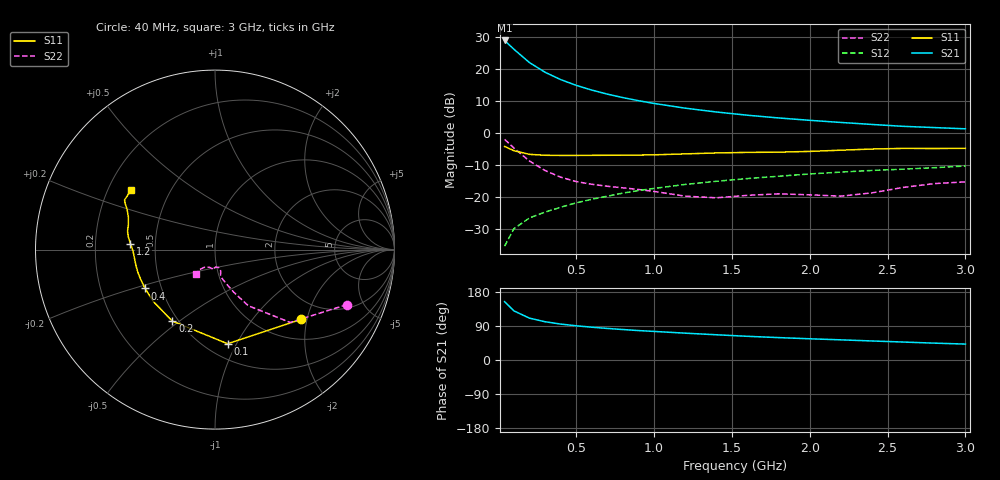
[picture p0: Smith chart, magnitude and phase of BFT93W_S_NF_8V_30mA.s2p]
! Filename:  BFT93WH.S2P  Version:  4.0
! Philips part #: BFT93W  Date: Jun 1994
! Bias condition: Vce=10V, Ic=30mA
#  MHz  S  MA  R  50
! Freq  S11  S21  S12  S22  !GUM [dB]
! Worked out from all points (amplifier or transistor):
!   21 points, 40 MHz to 3 GHz, reference 50 ohm
!   highest |S21| = 29.0 dB at 40 MHz (marker M1)
!   |S21| within 3 dB of that: start of sweep to 105.5 MHz
!   unconditionally stable (mu >= 1): 470.1 MHz to end of sweep
!   at 300 MHz: K = 0.86, MSG = 21.9 dB, |S12| = -24.7 dB
!   at 1 GHz: K = 1.14, MAG = 11.0 dB, |S12| = -17.3 dB
!   at 3 GHz: K = 1.09, MAG = 4.0 dB, |S12| = -10.3 dB
!   lowest NFmin = 3.60 dB at 500 MHz
!   S11 on the Smith chart (normalised r, x): 40 MHz: 1.46, -1.84; 100 MHz: 0.63, -0.92; 200 MHz: 0.46, -0.47; 400 MHz: 0.40, -0.22; 1.2 GHz: 0.36, +0.03; 3 GHz: 0.29, +0.29
40  0.617 -39.1  28.05 153.9  0.017 73.1  0.797 -22.6
100  0.529 -82.4  20.39 129.6  0.032 60.3  0.583 -44.1
200  0.464 -120.8  12.63 110.4  0.047 56.4  0.364 -59.3
300  0.449 -139.7  8.92 101.0  0.058 57.3  0.259 -66.3
400  0.446 -151.0  6.853 94.8  0.069 59.4  0.204 -71.2
500  0.446 -158.1  5.569 90.3  0.081 60.9  0.174 -75.0
600  0.448 -163.5  4.694 86.5  0.092 62.2  0.158 -77.2
700  0.449 -167.8  4.06 83.3  0.103 63.0  0.147 -77.7
800  0.45 -171.7  3.579 80.4  0.115 63.6  0.139 -77.1
900  0.452 -175.1  3.204 77.7  0.126 63.8  0.131 -75.9
1000  0.456 -178.5  2.902 75.4  0.136 64.1  0.122 -75.0
1200  0.472 175.9  2.448 70.8  0.157 64.3  0.103 -77.7
1400  0.488 171.7  2.134 66.6  0.176 64.2  0.097 -87.1
1600  0.498 168.1  1.898 62.5  0.194 63.6  0.106 -94.6
1800  0.502 164.0  1.721 59.1  0.211 63.4  0.112 -95.7
2000  0.516 159.3  1.58 56.0  0.229 63.5  0.108 -98.0
2200  0.539 155.4  1.464 53.2  0.245 63.7  0.103 -108.1
2400  0.562 152.9  1.362 50.2  0.26 63.6  0.116 -121.5
2600  0.575 151.2  1.273 47.4  0.272 63.0  0.141 -127.4
2800  0.573 148.4  1.217 44.5  0.287 62.9  0.162 -127.3
3000  0.576 144.7  1.164 42.0  0.305 62.6  0.172 -128.1
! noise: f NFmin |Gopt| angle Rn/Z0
500  3.6  0.25  101  0.55
1000  4.2  0.31  143  0.48
